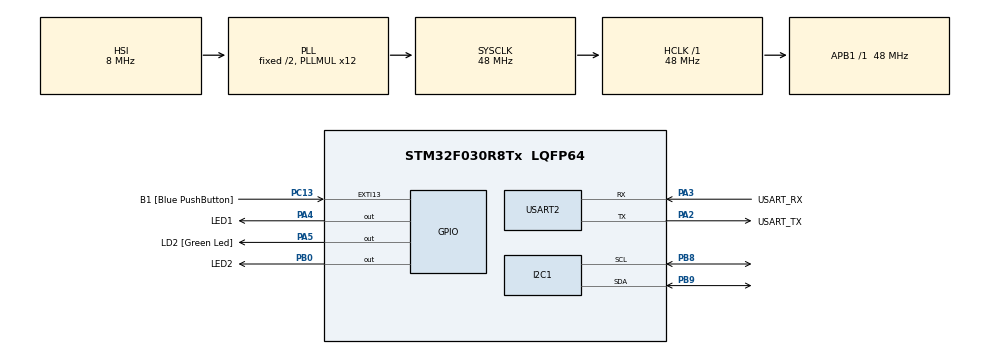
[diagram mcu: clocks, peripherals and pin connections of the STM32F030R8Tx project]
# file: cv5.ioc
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Dma.Request0=USART2_RX
Dma.USART2_RX.0.Direction=DMA_PERIPH_TO_MEMORY
Dma.USART2_RX.0.Instance=DMA1_Channel5
Dma.USART2_RX.0.MemDataAlignment=DMA_MDATAALIGN_BYTE
Dma.USART2_RX.0.MemInc=DMA_MINC_ENABLE
Dma.USART2_RX.0.Mode=DMA_CIRCULAR
Dma.USART2_RX.0.PeriphDataAlignment=DMA_PDATAALIGN_BYTE
Dma.USART2_RX.0.PeriphInc=DMA_PINC_DISABLE
Dma.USART2_RX.0.Priority=DMA_PRIORITY_LOW
Mcu.Family=STM32F0
Mcu.Name=STM32F030R8Tx
Mcu.Package=LQFP64
NVIC.DMA1_Channel4_5_IRQn=true\:0\:0\:false\:false\:true\:false\:true\:true
PA13.GPIO_Label=TMS
PA13.Mode=Serial_Wire
PA13.Signal=SYS_SWDIO
PA14.GPIO_Label=TCK
PA14.Mode=Serial_Wire
PA14.Signal=SYS_SWCLK
PA2.GPIO_Label=USART_TX
PA2.GPIO_Mode=GPIO_MODE_AF_PP
PA2.GPIO_PuPd=GPIO_NOPULL
PA2.GPIO_Speed=GPIO_SPEED_FREQ_LOW
PA2.Mode=Asynchronous
PA2.Signal=USART2_TX
PA3.GPIO_Label=USART_RX
PA3.GPIO_Mode=GPIO_MODE_AF_PP
PA3.GPIO_PuPd=GPIO_NOPULL
PA3.GPIO_Speed=GPIO_SPEED_FREQ_LOW
PA3.Mode=Asynchronous
PA3.Signal=USART2_RX
PA4.GPIO_Label=LED1
PA4.Signal=GPIO_Output
PA5.GPIO_Label=LD2 [Green Led]
PA5.GPIO_Mode=GPIO_MODE_OUTPUT_PP
PA5.GPIO_PuPd=GPIO_NOPULL
PA5.GPIO_Speed=GPIO_SPEED_FREQ_LOW
PA5.Signal=GPIO_Output
PB0.GPIO_Label=LED2
PB0.Signal=GPIO_Output
PB8.Mode=I2C
PB8.Signal=I2C1_SCL
PB9.Mode=I2C
PB9.Signal=I2C1_SDA
PC13.GPIO_Label=B1 [Blue PushButton]
PC13.GPIO_ModeDefaultEXTI=GPIO_MODE_IT_FALLING
PC13.Signal=GPXTI13
PC14-OSC32_IN.Mode=LSE-External-Oscillator
PC14-OSC32_IN.Signal=RCC_OSC32_IN
PC15-OSC32_OUT.Mode=LSE-External-Oscillator
PC15-OSC32_OUT.Signal=RCC_OSC32_OUT
PF0-OSC_IN.Mode=HSE-External-Clock-Source
PF0-OSC_IN.Signal=RCC_OSC_IN
PF1-OSC_OUT.Signal=RCC_OSC_OUT
ProjectManager.HeapSize=0x200
ProjectManager.StackSize=0x400
ProjectManager.TargetToolchain=STM32CubeIDE
RCC.AHBFreq_Value=48000000
RCC.APB1Freq_Value=48000000
RCC.APB1TimFreq_Value=48000000
RCC.HCLKFreq_Value=48000000
RCC.PLLMUL=RCC_PLL_MUL12
RCC.SYSCLKFreq_VALUE=48000000
RCC.SYSCLKSource=RCC_SYSCLKSOURCE_PLLCLK
USART2.VirtualMode-Asynchronous=VM_ASYNC
board=NUCLEO-F030R8

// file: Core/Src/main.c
/* USER CODE BEGIN Header */
/**
  ******************************************************************************
  * @file           : main.c
  * @brief          : Main program body
  ******************************************************************************
  * @attention
  *
  * Copyright (c) 2023 STMicroelectronics.
  * All rights reserved.
  *
  * This software is licensed under terms that can be found in the LICENSE file
  * in the root directory of this software component.
  * If no LICENSE file comes with this software, it is provided AS-IS.
  *
  ******************************************************************************
  */
/* USER CODE END Header */
#include "main.h"

/* USER CODE BEGIN Includes */
#include <stdio.h>
#include <string.h>
#include <stdlib.h>

/* USER CODE END Includes */

/* USER CODE BEGIN PD */
#define RX_BUFFER_LEN 64
static uint8_t uart_rx_buf[RX_BUFFER_LEN];
static volatile uint16_t uart_rx_read_ptr = 0;
#define uart_rx_write_ptr (RX_BUFFER_LEN - hdma_usart2_rx.Instance->CNDTR)
#define CMD_BUFFER_LEN 256
#define EEPROM_ADDR 0xA0
/* USER CODE END PD */

I2C_HandleTypeDef hi2c1;

UART_HandleTypeDef huart2;
DMA_HandleTypeDef hdma_usart2_rx;

void SystemClock_Config(void);
static void MX_GPIO_Init(void);
static void MX_DMA_Init(void);
static void MX_USART2_UART_Init(void);
static void MX_I2C1_Init(void);

/* USER CODE BEGIN 0 */
int _write(int file, char const *buf, int n)
{
	/* stdout redirection to UART2 */
	HAL_UART_Transmit(&huart2, (uint8_t*)(buf), n, HAL_MAX_DELAY);
	return n;
}

static void uart_process_command(char cmd[])
{
	char *token;
	uint8_t value;
	uint8_t value_array[16];
	uint16_t addr;
	token = strtok(cmd," ");
	if(strcasecmp(token,"HELLO")==0)
	{
		printf("OK\n");
	}

	else if(strcasecmp(token,"LED1")==0)
	{
		token=strtok(NULL, " ");
		if(strcasecmp(token,"ON")==0) HAL_GPIO_WritePin(LED1_GPIO_Port,LED1_Pin,1);
		else if(strcasecmp(token, "OFF")==0) HAL_GPIO_WritePin(LED1_GPIO_Port,LED1_Pin,0);
		printf("OK\n");
	}
	else if(strcasecmp(token,"LED2")==0)
	{
			token=strtok(NULL, " ");
			if(strcasecmp(token,"ON")==0) HAL_GPIO_WritePin(LED2_GPIO_Port,LED2_Pin,1);
			else if(strcasecmp(token, "OFF")==0) HAL_GPIO_WritePin(LED2_GPIO_Port,LED2_Pin,0);
			printf("OK\n");
	}
	else if(strcasecmp(token,"STATUS")==0)
	{
			printf("Status LED1\n\t %d",HAL_GPIO_ReadPin(LED1_GPIO_Port, LED1_Pin));
			if(HAL_GPIO_ReadPin(LED1_GPIO_Port, LED1_Pin)==1) printf("=ON\n");
			else printf("=OFF\n");
			printf("Status LED2\n\t %d",HAL_GPIO_ReadPin(LED2_GPIO_Port, LED2_Pin));
			if(HAL_GPIO_ReadPin(LED2_GPIO_Port, LED2_Pin)==1) printf("=ON\n");
			else printf("=OFF\n");
	}
	else if(strcasecmp(token,"READ")==0)
	{
			token=strtok(NULL, " ");
			addr=atoi(token);
			HAL_I2C_Mem_Read(&hi2c1, EEPROM_ADDR, addr, I2C_MEMADD_SIZE_16BIT, &value, 1, 1000);
			printf("Adresa 0x%X = 0x%X\n",addr,value);
	}
	else if(strcasecmp(token,"WRITE")==0)
	{
			token=strtok(NULL, " ");
			addr=atoi(token);
			token=strtok(NULL, " ");
			value=atoi(token);
			HAL_I2C_Mem_Write(&hi2c1, EEPROM_ADDR, addr, I2C_MEMADD_SIZE_16BIT, &value, 1, 1000);
			while  (HAL_I2C_IsDeviceReady(&hi2c1, EEPROM_ADDR, 300, 1000) == HAL_TIMEOUT) {}
			printf("OK\n");
	}
	else if(strcasecmp(token,"DUMP")==0)
	{
		addr=0;
		HAL_I2C_Mem_Read(&hi2c1,EEPROM_ADDR,addr,I2C_MEMADD_SIZE_16BIT,&value_array[0],16,1000);
		for(uint16_t i=0;i<16;i++)
		{
			printf("0x%X\t",value_array[i]);
			if(i%8==7) printf("\n");
		}
	}
}

static void uart_byte_available(uint8_t c)
{
	static uint16_t cnt;
	static char data[CMD_BUFFER_LEN];

	if(cnt < CMD_BUFFER_LEN && c >= 32 && c <= 126)
	{
		data[cnt++] = c;
	}

	if((c == '\n' || c == '\r') && cnt > 0)
	{
		data[cnt] = '\0';
		uart_process_command(data);
		cnt = 0;
	}
}
/* USER CODE END 0 */

int main(void)
{

  /* MCU Configuration--------------------------------------------------------*/

  /* Reset of all peripherals, Initializes the Flash interface and the Systick. */
  HAL_Init();

  /* Configure the system clock */
  SystemClock_Config();

  /* Initialize all configured peripherals */
  MX_DMA_Init();
  MX_USART2_UART_Init();
  MX_I2C1_Init();
  /* USER CODE BEGIN 2 */
  HAL_UART_Receive_DMA(&huart2, uart_rx_buf, RX_BUFFER_LEN);
  MX_GPIO_Init();
  /* USER CODE END 2 */

  /* Infinite loop */
  /* USER CODE BEGIN WHILE */
  while (1)
  {
	  while (uart_rx_read_ptr != uart_rx_write_ptr)
	  {
	  		uint8_t b = uart_rx_buf[uart_rx_read_ptr];
	  		if (++uart_rx_read_ptr >= RX_BUFFER_LEN) uart_rx_read_ptr = 0; // increase read pointer
	  		{
	  			uart_byte_available(b); // process every received byte with the RX state machine
	  		}
	  }

    /* USER CODE END WHILE */

  }
}

void SystemClock_Config(void)
{
  RCC_OscInitTypeDef RCC_OscInitStruct = {0};
  RCC_ClkInitTypeDef RCC_ClkInitStruct = {0};
  RCC_PeriphCLKInitTypeDef PeriphClkInit = {0};

  /** Initializes the RCC Oscillators according to the specified parameters
  * in the RCC_OscInitTypeDef structure.
  */
  RCC_OscInitStruct.OscillatorType = RCC_OSCILLATORTYPE_HSI;
  RCC_OscInitStruct.HSIState = RCC_HSI_ON;
  RCC_OscInitStruct.HSICalibrationValue = RCC_HSICALIBRATION_DEFAULT;
  RCC_OscInitStruct.PLL.PLLState = RCC_PLL_ON;
  RCC_OscInitStruct.PLL.PLLSource = RCC_PLLSOURCE_HSI;
  RCC_OscInitStruct.PLL.PLLMUL = RCC_PLL_MUL12;
  RCC_OscInitStruct.PLL.PREDIV = RCC_PREDIV_DIV1;
  if (HAL_RCC_OscConfig(&RCC_OscInitStruct) != HAL_OK)
  {
    Error_Handler();
  }

  /** Initializes the CPU, AHB and APB buses clocks
  */
  RCC_ClkInitStruct.ClockType = RCC_CLOCKTYPE_HCLK|RCC_CLOCKTYPE_SYSCLK
                              |RCC_CLOCKTYPE_PCLK1;
  RCC_ClkInitStruct.SYSCLKSource = RCC_SYSCLKSOURCE_PLLCLK;
  RCC_ClkInitStruct.AHBCLKDivider = RCC_SYSCLK_DIV1;
  RCC_ClkInitStruct.APB1CLKDivider = RCC_HCLK_DIV1;

  if (HAL_RCC_ClockConfig(&RCC_ClkInitStruct, FLASH_LATENCY_1) != HAL_OK)
  {
    Error_Handler();
  }
  PeriphClkInit.PeriphClockSelection = RCC_PERIPHCLK_I2C1;
  PeriphClkInit.I2c1ClockSelection = RCC_I2C1CLKSOURCE_HSI;
  if (HAL_RCCEx_PeriphCLKConfig(&PeriphClkInit) != HAL_OK)
  {
    Error_Handler();
  }
}

static void MX_I2C1_Init(void)
{

  hi2c1.Instance = I2C1;
  hi2c1.Init.Timing = 0x2000090E;
  hi2c1.Init.OwnAddress1 = 0;
  hi2c1.Init.AddressingMode = I2C_ADDRESSINGMODE_7BIT;
  hi2c1.Init.DualAddressMode = I2C_DUALADDRESS_DISABLE;
  hi2c1.Init.OwnAddress2 = 0;
  hi2c1.Init.OwnAddress2Masks = I2C_OA2_NOMASK;
  hi2c1.Init.GeneralCallMode = I2C_GENERALCALL_DISABLE;
  hi2c1.Init.NoStretchMode = I2C_NOSTRETCH_DISABLE;
  if (HAL_I2C_Init(&hi2c1) != HAL_OK)
  {
    Error_Handler();
  }

  /** Configure Analogue filter
  */
  if (HAL_I2CEx_ConfigAnalogFilter(&hi2c1, I2C_ANALOGFILTER_ENABLE) != HAL_OK)
  {
    Error_Handler();
  }

  /** Configure Digital filter
  */
  if (HAL_I2CEx_ConfigDigitalFilter(&hi2c1, 0) != HAL_OK)
  {
    Error_Handler();
  }

}

static void MX_USART2_UART_Init(void)
{

  huart2.Instance = USART2;
  huart2.Init.BaudRate = 38400;
  huart2.Init.WordLength = UART_WORDLENGTH_8B;
  huart2.Init.StopBits = UART_STOPBITS_1;
  huart2.Init.Parity = UART_PARITY_NONE;
  huart2.Init.Mode = UART_MODE_TX_RX;
  huart2.Init.HwFlowCtl = UART_HWCONTROL_NONE;
  huart2.Init.OverSampling = UART_OVERSAMPLING_16;
  huart2.Init.OneBitSampling = UART_ONE_BIT_SAMPLE_DISABLE;
  huart2.AdvancedInit.AdvFeatureInit = UART_ADVFEATURE_NO_INIT;
  if (HAL_UART_Init(&huart2) != HAL_OK)
  {
    Error_Handler();
  }

}

static void MX_DMA_Init(void)
{

  /* DMA controller clock enable */
  __HAL_RCC_DMA1_CLK_ENABLE();

  /* DMA interrupt init */
  /* DMA1_Channel4_5_IRQn interrupt configuration */
  HAL_NVIC_SetPriority(DMA1_Channel4_5_IRQn, 0, 0);
  HAL_NVIC_EnableIRQ(DMA1_Channel4_5_IRQn);

}

static void MX_GPIO_Init(void)
{
  GPIO_InitTypeDef GPIO_InitStruct = {0};

  /* GPIO Ports Clock Enable */
  __HAL_RCC_GPIOC_CLK_ENABLE();
  __HAL_RCC_GPIOF_CLK_ENABLE();
  __HAL_RCC_GPIOA_CLK_ENABLE();
  __HAL_RCC_GPIOB_CLK_ENABLE();

  /*Configure GPIO pin Output Level */
  HAL_GPIO_WritePin(GPIOA, LED1_Pin|LD2_Pin, GPIO_PIN_RESET);

  /*Configure GPIO pin Output Level */
  HAL_GPIO_WritePin(LED2_GPIO_Port, LED2_Pin, GPIO_PIN_RESET);

  /*Configure GPIO pin : B1_Pin */
  GPIO_InitStruct.Pin = B1_Pin;
  GPIO_InitStruct.Mode = GPIO_MODE_IT_FALLING;
  GPIO_InitStruct.Pull = GPIO_NOPULL;
  HAL_GPIO_Init(B1_GPIO_Port, &GPIO_InitStruct);

  /*Configure GPIO pins : LED1_Pin LD2_Pin */
  GPIO_InitStruct.Pin = LED1_Pin|LD2_Pin;
  GPIO_InitStruct.Mode = GPIO_MODE_OUTPUT_PP;
  GPIO_InitStruct.Pull = GPIO_NOPULL;
  GPIO_InitStruct.Speed = GPIO_SPEED_FREQ_LOW;
  HAL_GPIO_Init(GPIOA, &GPIO_InitStruct);

  /*Configure GPIO pin : LED2_Pin */
  GPIO_InitStruct.Pin = LED2_Pin;
  GPIO_InitStruct.Mode = GPIO_MODE_OUTPUT_PP;
  GPIO_InitStruct.Pull = GPIO_NOPULL;
  GPIO_InitStruct.Speed = GPIO_SPEED_FREQ_LOW;
  HAL_GPIO_Init(LED2_GPIO_Port, &GPIO_InitStruct);

}

void Error_Handler(void)
{
  __disable_irq();
  while (1)
  {
  }
}
